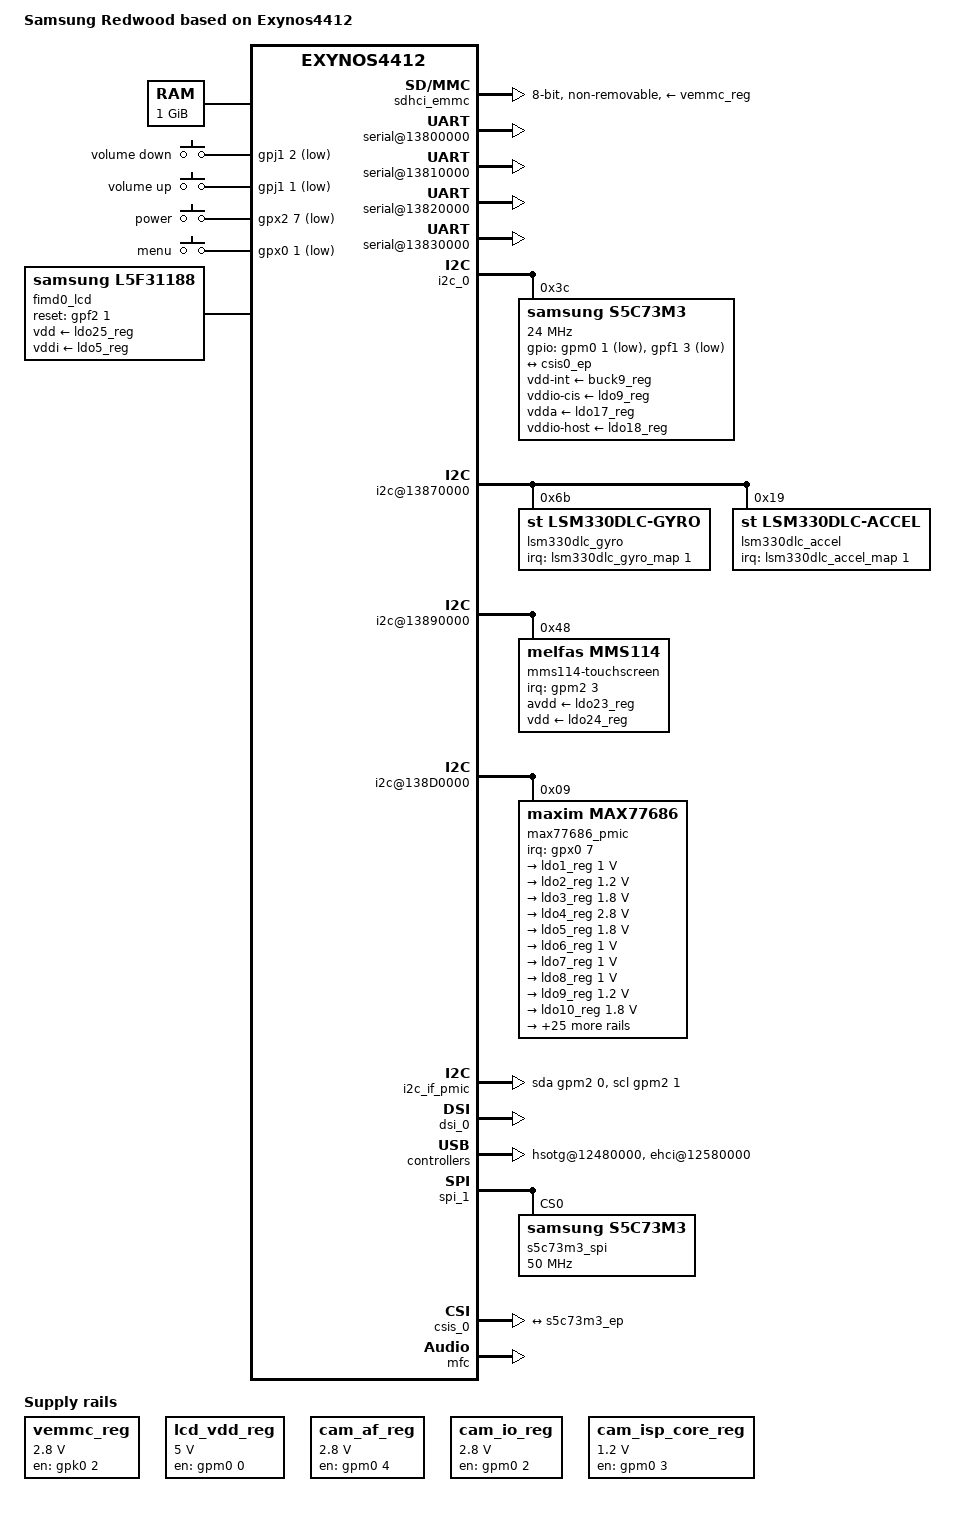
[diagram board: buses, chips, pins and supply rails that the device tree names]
/*
 * Samsung's Exynos4412 based  board device tree source
 *
 * Copyright (c) 2012 Samsung Electronics Co., Ltd.
 *		http://www.samsung.com
 *
 * Device tree source file for Samsung's Redwood board which is based on
 * Samsung's Exynos4412 SoC.
 *
 * This program is free software; you can redistribute it and/or modify
 * it under the terms of the GNU General Public License version 2 as
 * published by the Free Software Foundation.
*/

/dts-v1/;
/include/ "exynos4412.dtsi"

/ {
	model = "Samsung Redwood based on Exynos4412";
	compatible = "samsung,redwood", "samsung,exynos4412";

	memory {
		reg =  <0x40000000 0x10000000
			0x50000000 0x10000000
			0x60000000 0x10000000
			0x70000000 0x10000000>;

		reserved-memory {
			#address-cells = <1>;
			#size-cells = <1>;

			contig_mem: region@71000000 {
				compatible = "linux,contiguous-memory-region";
				reg = <0x71000000 0x0c000000>;
				linux,default-contiguous-region;
			};

			fimc_mem: region@70000000 {
				compatible = "linux,contiguous-memory-region", "reserved-memory-region";
				reg = <0x70000000 0x1000000>;
			};

			mfc_l_mem: mfc_l_region@43000000 {
				compatible = "linux,contiguous-memory-region", "reserved-memory-region";
				reg = <0x43000000 0x1000000>;
			};

			mfc_r_mem: mfc_r_region@51000000 {
				compatible = "linux,contiguous-memory-region", "reserved-memory-region";
				reg = <0x51000000 0x1000000>;
			};
		};
	};

	chosen {
		bootargs = "console=ttySAC2,115200N8 root=/dev/mmcblk0p5 rootwait earlyprintk panic=5";
	};

	firmware@0204F000 {
		compatible = "samsung,secure-firmware";
		reg = <0x0204F000 0x1000>;
	};

	fixed-rate-clocks {
		xxti {
			compatible = "samsung,clock-xxti", "fixed-clock";
			clock-frequency = <0>;
		};

		xusbxti {
			compatible = "samsung,clock-xusbxti", "fixed-clock";
			clock-frequency = <24000000>;
		};
	};

	vemmc_reg: voltage-regulator@0 {
	        compatible = "regulator-fixed";
		regulator-name = "VMEM_VDD_2.8V";
		regulator-min-microvolt = <2800000>;
		regulator-max-microvolt = <2800000>;
		gpio = <&gpk0 2 0>;
		enable-active-high;
	};

	sdhci_emmc: sdhci@12510000 {
		bus-width = <8>;
		non-removable;
		pinctrl-0 = <&sd0_clk &sd0_cmd &sd0_bus8>;
		pinctrl-names = "default";
		vmmc-supply = <&vemmc_reg>;
		status = "okay";
	};

	serial@13800000 {
		status = "okay";
	};

	serial@13810000 {
		status = "okay";
	};

	serial@13820000 {
		status = "okay";
	};

	serial@13830000 {
		status = "okay";
	};

	gpio-keys@0 {
		compatible = "gpio-keys";

		key@114 {
			interrupt-parent = <&gpj1>;
			interrupts = <2 0>;
			gpios = <&gpj1 2 1>;
			linux,code = <114>;
			label = "volume down";
			debounce-interval = <10>;
		};

		key@115 {
			interrupt-parent = <&gpj1>;
			interrupts = <1 0>;
			gpios = <&gpj1 1 1>;
			linux,code = <115>;
			label = "volume up";
			debounce-interval = <10>;
		};

		key@116 {
			interrupt-parent = <&gpx2>;
			interrupts = <7 0>;
			gpios = <&gpx2 7 1>;
			linux,code = <116>;
			label = "power";
			debounce-interval = <10>;
			gpio-key,wakeup;
		};

		key@139 {
			interrupt-parent = <&gpx0>;
			interrupts = <1 0>;
			gpios = <&gpx0 1 1>;
			linux,code = <139>;
			label = "menu";
			debounce-interval = <10>;
			gpio-key,wakeup;
		};
	};

	i2c_0: i2c@13860000 {
		samsung,i2c-sda-delay = <100>;
		samsung,i2c-slave-addr = <0x10>;
		samsung,i2c-max-bus-freq = <400000>;
		pinctrl-0 = <&i2c0_bus>;
		pinctrl-names = "default";
		status = "okay";

		s5c73m3@3c {
			compatible = "samsung,s5c73m3";
			reg = <0x3c>;
			gpios = <&gpm0 1 1>, /* ISP_STANDBY */
				<&gpf1 3 1>; /* ISP_RESET */
			vdd-int-supply = <&buck9_reg>;
			vddio-cis-supply = <&ldo9_reg>;
			vdda-supply = <&ldo17_reg>;
			vddio-host-supply = <&ldo18_reg>;
			vdd-af-supply = <&cam_af_reg>;
			vdd-reg-supply = <&cam_io_reg>;
			clock-frequency = <24000000>;

			port {
				s5c73m3_ep: endpoint {
					remote-endpoint = <&csis0_ep>;
				};
			};
		};
	};

	i2c@13870000 {
		samsung,i2c-sda-delay = <100>;
		samsung,i2c-slave-addr = <0x10>;
		samsung,i2c-max-bus-freq = <400000>;
		pinctrl-0 = <&i2c1_bus>;
		pinctrl-names = "default";
		status = "okay";

		lsm330dlc_gyro@6b {
			compatible = "st,lsm330dlc-gyro";
			reg = <0x6b>;
			irq-map-policy = <1>;
			interrupt-controller;
			#interrups-cells = <2>;
            		interrupt-parent = <&lsm330dlc_gyro_map>;
            		interrupts= <1 0>;

			lsm330dlc_gyro_map: lsm330dlc-gyro-map {
                		compatible = "samsung,lsm330dlc-gyro-map";
                		#interrupt-cells = <2>;
                		#address-cells = <0>;
                		#size-cells = <0>;
                		interrupt-map = <0x1 0 &gpf0 3 0>;
            		};
		};

		lsm330dlc_accel@19 {
			compatible = "st,lsm330dlc-accel";
			reg = <0x19>;
			irq-map-policy = <2>;
			interrupt-controller;
            		#interrups-cells = <2>;
            		interrupt-parent = <&lsm330dlc_accel_map>;
            		interrupts= <1 0>;

			lsm330dlc_accel_map: lsm330dlc-accel-map {
                		compatible = "samsung,lsm330dlc-accel-map";
                		#interrupt-cells = <2>;
                		#address-cells = <0>;
                		#size-cells = <0>;
                		interrupt-map = <0x1 0 &gpx0 0 0>;
            		};
		};
	};

	i2c@13890000 {
		samsung,i2c-sda-delay = <100>;
		samsung,i2c-slave-addr = <0x10>;
		samsung,i2c-max-bus-freq = <400000>;
		pinctrl-0 = <&i2c3_bus>;
		pinctrl-names = "default";
		status = "okay";

		mms114-touchscreen@48 {
			compatible = "melfas,mms114";
			reg = <0x48>;
			interrupt-parent = <&gpm2>;
			interrupts = <3 2>;
			x-size = <720>;
			y-size = <1280>;
			avdd-supply = <&ldo23_reg>;
			vdd-supply = <&ldo24_reg>;
		};
	};

	i2c@138D0000 {
		samsung,i2c-sda-delay = <100>;
		samsung,i2c-slave-addr = <0x10>;
		samsung,i2c-max-bus-freq = <100000>;
		pinctrl-0 = <&i2c7_bus>;
		pinctrl-names = "default";
		status = "okay";

		max77686_pmic@09 {
			compatible = "maxim,max77686";
			interrupt-parent = <&gpx0>;
			interrupts = <7 0>;
			reg = <0x09>;

			voltage-regulators {
				ldo1_reg: ldo@1 {
					regulator-compatible = "LDO1";
					regulator-name = "VALIVE_1.0V_AP";
					regulator-min-microvolt = <1000000>;
					regulator-max-microvolt = <1000000>;
					regulator-always-on;
				};

				ldo2_reg: ldo@2 {
					regulator-compatible = "LDO2";
					regulator-name = "VM1M2_1.2V_AP";
					regulator-min-microvolt = <1200000>;
					regulator-max-microvolt = <1200000>;
					regulator-always-on;
				};

				ldo3_reg: ldo@3 {
					regulator-compatible = "LDO3";
					regulator-name = "VCC_1.8V_AP";
					regulator-min-microvolt = <1800000>;
					regulator-max-microvolt = <1800000>;
					regulator-always-on;
				};

				ldo4_reg: ldo@4 {
					regulator-compatible = "LDO4";
					regulator-name = "VCC_2.8V_AP";
					regulator-min-microvolt = <2800000>;
					regulator-max-microvolt = <2800000>;
					regulator-always-on;
				};

				ldo5_reg: ldo@5 {
					regulator-compatible = "LDO5";
					regulator-name = "VCC_1.8V_IO";
					regulator-min-microvolt = <1800000>;
					regulator-max-microvolt = <1800000>;
					regulator-always-on;
				};

				ldo6_reg: ldo@6 {
					regulator-compatible = "LDO6";
					regulator-name = "VMPLL_1.0V_AP";
					regulator-min-microvolt = <1000000>;
					regulator-max-microvolt = <1000000>;
					regulator-always-on;
				};

				ldo7_reg: ldo@7 {
					regulator-compatible = "LDO7";
					regulator-name = "VPLL_1.0V_AP";
					regulator-min-microvolt = <1000000>;
					regulator-max-microvolt = <1000000>;
					regulator-always-on;
				};

				ldo8_reg: ldo@8 {
					regulator-compatible = "LDO8";
					regulator-name = "VMIPI_1.0V";
					regulator-min-microvolt = <1000000>;
					regulator-max-microvolt = <1000000>;
				};

				ldo9_reg: ldo@9 {
					regulator-compatible = "LDO9";
					regulator-name = "CAM_ISP_MIPI_1.2V";
					regulator-min-microvolt = <1200000>;
					regulator-max-microvolt = <1200000>;
				};

				ldo10_reg: ldo@10 {
					regulator-compatible = "LDO10";
					regulator-name = "VMIPI_1.8V";
					regulator-min-microvolt = <1800000>;
					regulator-max-microvolt = <1800000>;
				};

				ldo11_reg: ldo@11 {
					regulator-compatible = "LDO11";
					regulator-name = "VABB1_1.8V";
					regulator-min-microvolt = <1800000>;
					regulator-max-microvolt = <1800000>;
					regulator-always-on;
				};

				ldo12_reg: ldo@12 {
					regulator-compatible = "LDO12";
					regulator-name = "VUOTG_3.0V";
					regulator-min-microvolt = <3000000>;
					regulator-max-microvolt = <3000000>;
				};

				ldo13_reg: ldo@13 {
					regulator-compatible = "LDO13";
					regulator-name = "NFC_AVDD_1.8V";
					regulator-min-microvolt = <1800000>;
					regulator-max-microvolt = <1800000>;
				};

				ldo14_reg: ldo@14 {
					regulator-compatible = "LDO14";
					regulator-name = "VABB2_1.8V";
					regulator-min-microvolt = <1800000>;
					regulator-max-microvolt = <1800000>;
					regulator-always-on;
				};

				ldo15_reg: ldo@15 {
					regulator-compatible = "LDO15";
					regulator-name = "VHSIC_1.0V";
					regulator-min-microvolt = <1000000>;
					regulator-max-microvolt = <1000000>;
					regulator-always-on;
				};

				ldo16_reg: ldo@16 {
					regulator-compatible = "LDO16";
					regulator-name = "VHSIC_1.8V";
					regulator-min-microvolt = <1800000>;
					regulator-max-microvolt = <1800000>;
					regulator-always-on;
				};

				ldo17_reg: ldo@17 {
					regulator-compatible = "LDO17";
					regulator-name = "CAM_SENSOR_CORE_1.2V";
					regulator-min-microvolt = <1200000>;
					regulator-max-microvolt = <1200000>;
				};

				ldo18_reg: ldo@18 {
					regulator-compatible = "LDO18";
					regulator-name = "CAM_ISP_SENSOR_1.8V";
					regulator-min-microvolt = <1800000>;
					regulator-max-microvolt = <1800000>;
				};

				ldo19_reg: ldo@19 {
					regulator-compatible = "LDO19";
					regulator-name = "VT_CAM_1.8V";
					regulator-min-microvolt = <1800000>;
					regulator-max-microvolt = <1800000>;
				};

				ldo20_reg: ldo@20 {
					regulator-compatible = "LDO20";
					regulator-name = "VDDQ_PRE_1.8V";
					regulator-min-microvolt = <1800000>;
					regulator-max-microvolt = <1800000>;
				};

				ldo21_reg: ldo@21 {
					regulator-compatible = "LDO21";
					regulator-name = "VTF_2.8V";
					regulator-min-microvolt = <2800000>;
					regulator-max-microvolt = <2800000>;
				};

				ldo22_reg: ldo@22 {
					regulator-compatible = "LDO22";
					regulator-name = "VMEM_VDD_2.8V";
					regulator-min-microvolt = <2800000>;
					regulator-max-microvolt = <2800000>;
					regulator-always-on;
				};

				ldo23_reg: ldo@23 {
					regulator-compatible = "LDO23";
					regulator-name = "TSP_AVDD_3.3V";
					regulator-min-microvolt = <3300000>;
					regulator-max-microvolt = <3300000>;
				};

				ldo24_reg: ldo@24 {
					regulator-compatible = "LDO24";
					regulator-name = "VDD_1.8V_TSP";
					regulator-min-microvolt = <1800000>;
					regulator-max-microvolt = <1800000>;
				};

				ldo25_reg: ldo@25 {
					regulator-compatible = "LDO25";
					regulator-name = "LED_A_2.8V";
					regulator-min-microvolt = <2800000>;
					regulator-max-microvolt = <2800000>;
				};

				ldo26_reg: ldo@26 {
					regulator-compatible = "LDO26";
					regulator-name = "MOTOR_VCC_3.0V";
					regulator-min-microvolt = <3000000>;
					regulator-max-microvolt = <3000000>;
				};

				buck1_reg: buck@1 {
					regulator-compatible = "BUCK1";
					regulator-name = "vdd_mif";
					regulator-min-microvolt = <850000>;
					regulator-max-microvolt = <1100000>;
					regulator-always-on;
					regulator-boot-on;
				};

				buck2_reg: buck@2 {
					regulator-compatible = "BUCK2";
					regulator-name = "vdd_arm";
					regulator-min-microvolt = <850000>;
					regulator-max-microvolt = <1500000>;
					regulator-always-on;
					regulator-boot-on;
				};

				buck3_reg: buck@3 {
					regulator-compatible = "BUCK3";
					regulator-name = "vdd_int";
					regulator-min-microvolt = <850000>;
					regulator-max-microvolt = <1150000>;
					regulator-always-on;
					regulator-boot-on;
				};

				buck4_reg: buck@4 {
					regulator-compatible = "BUCK4";
					regulator-name = "vdd_g3d";
					regulator-min-microvolt = <850000>;
					regulator-max-microvolt = <1150000>;
					regulator-boot-on;
				};

				buck5_reg: buck@5 {
					regulator-compatible = "BUCK5";
					regulator-name = "VMEM_1.2V_AP";
					regulator-min-microvolt = <1200000>;
					regulator-max-microvolt = <1200000>;
					regulator-always-on;
				};

				buck6_reg: buck@6 {
					regulator-compatible = "BUCK6";
					regulator-name = "VCC_SUB_1.35V";
					regulator-min-microvolt = <1350000>;
					regulator-max-microvolt = <1350000>;
					regulator-always-on;
				};
				buck7_reg: buck@7 {
					regulator-compatible = "BUCK7";
					regulator-name = "VCC_SUB_2.0V";
					regulator-min-microvolt = <2000000>;
					regulator-max-microvolt = <2000000>;
					regulator-always-on;
				};

				buck8_reg: buck@8 {
					regulator-compatible = "BUCK8";
					regulator-name = "VMEM_VDDF_3.0V";
					regulator-min-microvolt = <2850000>;
					regulator-max-microvolt = <2850000>;
					regulator-always-on;
				};

				buck9_reg: buck@9 {
					regulator-compatible = "BUCK9";
					regulator-name = "CAM_ISP_CORE_1.2V";
					regulator-min-microvolt = <1000000>;
					regulator-max-microvolt = <1200000>;
				};
			};
		};
	};

	i2c_if_pmic: i2c@0 {
		compatible = "i2c-gpio";
		gpios = <&gpm2 0 0
			 &gpm2 1 0
			>;
		#address-cells = <1>;
		#size-cells = <0>;
	};

	lcd_vdd_reg: voltage-regulator@1 {
	        compatible = "regulator-fixed";
		regulator-name = "LCD_VDD_5.0V";
		regulator-min-microvolt = <5000000>;
		regulator-max-microvolt = <5000000>;
		gpio = <&gpm0 0 0>;
		enable-active-high;
	};

	cam_af_reg: voltage-regulator@2 {
		compatible = "regulator-fixed";
		regulator-name = "CAM_AF";
		regulator-min-microvolt = <2800000>;
		regulator-max-microvolt = <2800000>;
		gpio = <&gpm0 4 0>;
		enable-active-high;
	};

	cam_io_reg: voltage-regulator@3 {
		compatible = "regulator-fixed";
		regulator-name = "CAM_SENSOR_A";
		regulator-min-microvolt = <2800000>;
		regulator-max-microvolt = <2800000>;
		gpio = <&gpm0 2 0>;
		enable-active-high;
	};

	cam_isp_core_reg: voltage-regulator@4 {
		compatible = "regulator-fixed";
		regulator-name = "CAM_ISP_CORE_1.2V_EN";
		regulator-min-microvolt = <1200000>;
		regulator-max-microvolt = <1200000>;
		gpio = <&gpm0 3 0>;
		enable-active-high;
		regulator-always-on;
	};

	fimd0_lcd: panel {
		compatible = "samsung,l5f31188";
		width = <720>;
		height = <1280>;
		reset-gpio = <&gpf2 1 0>;
		reset-delay1 = <15>;
		reset-delay2 = <180>;
		power-on-delay = <120>;
		power-off-delay1 = <100>;
		power-off-delay2 = <200>;
		vdd-supply = <&ldo25_reg>;
		vddi-supply = <&ldo5_reg>;
		video-source = <&dsi_0>;
		samsung,panel-width-mm = <59>; /* FIXME */
		samsung,panel-height-mm = <105>; /* FIXME */

		display-timings {
			native-mode = <&timing0>;

			timing0: timing-0 {
				clock-frequency = <0>;
				hactive = <720>;
				vactive = <1280>;
				hfront-porch = <81>;
				hback-porch = <81>;
				hsync-len = <27>;
				vfront-porch = <11>;
				vback-porch = <4>;
				vsync-len = <2>;
			};
		};
	};

	dsi_0: dsi@11C80000 {
		samsung,pll-stable-time = <500>;
		samsung,stop-holding-count = <0x7ff>;
		samsung,bta-timeout = <0xff>;
		samsung,rx-timeout = <0xffff>;
		samsung,pll-clk-freq = <24000000>;
		samsung,cmd-allow = <0xf>;
		vdd11-supply = <&ldo8_reg>;
		vdd18-supply = <&ldo10_reg>;
		status = "okay";
	};

	fimd@11c00000 {
		samsung,fimd-display = <&fimd0_lcd>;
		samsung,fimd-vidout-rgb;
		samsung,fimd-inv-vclk;
		samsung,fimd-frame-rate = <60>;
		samsung,default-window = <3>;
		samsung,fimd-win-bpp = <32>;
		status = "okay";
	};

	vidi {
		compatible = "samsung,exynos-drm-vidi";
	};

	sysmmu-fimd0 {
		clock-names = "sysmmu";
		clocks = <&clock 287>;
		mmu-master = <&fimd>;
	};

	sysmmu-g2d {
		clock-names = "sysmmu";
		clocks = <&clock 280>;
		mmu-master = <&g2d>;
	};

	usbphy@125B0000 {
		status = "okay";
	};

	hsotg@12480000 {
		status = "okay";
		vusb_d-supply = <&ldo15_reg>;
		vusb_a-supply = <&ldo12_reg>;
	};

	spi_1: spi@13930000 {
		pinctrl-names = "default";
		pinctrl-0 = <&spi1_bus>;
		status = "okay";

		s5c73m3_spi: s5c73m3 {
			compatible = "samsung,s5c73m3";
			spi-max-frequency = <50000000>;
			reg = <0>;
			controller-data {
				cs-gpio = <&gpb 5 0>;
				samsung,spi-feedback-delay = <2>;
			};
		};
	};

	g2d@10800000 {
		status = "okay";
	};

	rotator: rotator@12810000 {
		status = "okay";
	};

	camera {
		status = "okay";

		pinctrl-names = "default";
		pinctrl-0 = <&cam_port_a_clk_active>;

		fimc_0: fimc@11800000 {
			clock-frequency = <176000000>;
			status = "okay";
		};

		fimc_1: fimc@11810000 {
			clock-frequency = <176000000>;
			status = "okay";
		};

		fimc_2: fimc@11820000 {
			clock-frequency = <176000000>;
			status = "okay";
		};

		fimc_3: fimc@11830000 {
			clock-frequency = <176000000>;
			status = "okay";
		};

		csis_0: csis@11880000 {
			status = "okay";
			vddcore-supply = <&ldo8_reg>;
			vddio-supply = <&ldo10_reg>;
			clock-frequency = <160000000>;
			#address-cells = <1>;
			#size-cells = <0>;

			/* Camera C (3) MIPI CSI-2 (CSIS0) */
			port@3 {
				reg = <3>;
				csis0_ep: endpoint {
					remote-endpoint = <&s5c73m3_ep>;
					data-lanes = <1 2 3 4>;
					samsung,csis-hs-settle = <12>;
				};
			};
		};
	};

	mfc: codec@13400000 {
		status = "okay";

		memport@0 {
			memory-region = <&mfc_l_mem>;
		};

		memport@1 {
			memory-region = <&mfc_r_mem>;
		};
	};

	gpu@13000000 {
		status = "okay";
		vdd_g3d-supply = <&buck4_reg>;
	};

	cpufreq {
		status = "okay";
		overclocking = "okay";
		max_overclocking_freq = <1500000>;
	};

	tmu@100C0000 {
		vdd_ts-supply = <&ldo10_reg>;
		status = "okay";
	};

	ehci@12580000 {
		status = "okay";
	};
};
